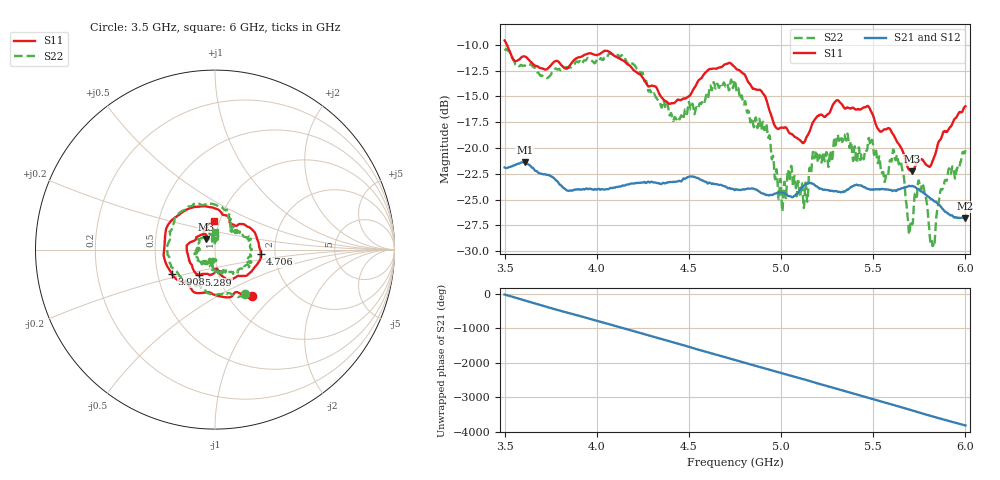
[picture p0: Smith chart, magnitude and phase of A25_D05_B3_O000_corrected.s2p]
! Created with skrf 1.9.0 (http://scikit-rf.org).
# Hz S RI R 50.0
!freq ReS11 ImS11 ReS21 ImS21 ReS12 ImS12 ReS22 ImS22
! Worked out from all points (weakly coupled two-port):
!   1601 points, 3.5 GHz to 6 GHz, reference 50 ohm
!   highest |S21| = -21.38 dB at 3.609 GHz (marker M1); lowest = -26.8 dB at 5.997 GHz (marker M2)
!   lowest |S11| = -22.2 dB at 5.711 GHz (marker M3), VSWR 1.17, Z = 45 + j5.4 ohm
!   |S11| at or under -10 dB: 3.513 GHz to end of sweep
!   |S22| runs from -29.5 to -10.4 dB; largest |S21 - S12| = 0.00091
!   S11 on the Smith chart (normalised r, x): 3.5 GHz: 1.27, -0.75; 3.908 GHz: 0.59, -0.18; 4.706 GHz: 1.68, -0.10; 5.289 GHz: 0.81, -0.23; 6 GHz: 0.94, +0.31
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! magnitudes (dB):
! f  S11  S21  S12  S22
! 3.5 GHz  -9.6  -21.9  -21.9  -10.4
! 3.609 GHz  -11.1  -21.4  -21.4  -12.0
! 3.908 GHz  -11.2  -24.0  -24.0  -11.6
! 3.917 GHz  -11.2  -24.0  -24.0  -11.8
! 4.127 GHz  -11.4  -23.7  -23.7  -11.2
! 4.334 GHz  -14.5  -23.4  -23.4  -15.4
! 4.706 GHz  -11.8  -23.8  -23.8  -13.8
! 4.75 GHz  -12.2  -24.1  -24.0  -13.5
! 4.928 GHz  -15.8  -24.6  -24.5  -18.9
! 4.997 GHz  -18.0  -24.3  -24.3  -23.0
! 5.047 GHz  -18.6  -24.7  -24.7  -23.1
! 5.133 GHz  -19.2  -23.5  -23.5  -23.4
! 5.167 GHz  -17.7  -23.4  -23.4  -21.5
! 5.289 GHz  -15.6  -24.2  -24.2  -19.2
! 5.584 GHz  -18.1  -24.1  -24.0  -22.0
! 5.641 GHz  -19.7  -24.0  -24.0  -21.5
! 5.711 GHz  -22.2  -23.7  -23.6  -27.4
! 5.759 GHz  -21.1  -24.2  -24.2  -24.1
! 5.822 GHz  -21.3  -25.0  -25.0  -29.5
! 5.875 GHz  -18.7  -25.9  -25.8  -24.0
! 5.997 GHz  -16.0  -26.8  -26.7  -20.5
! 6 GHz  -16.0  -26.8  -26.8  -20.2
